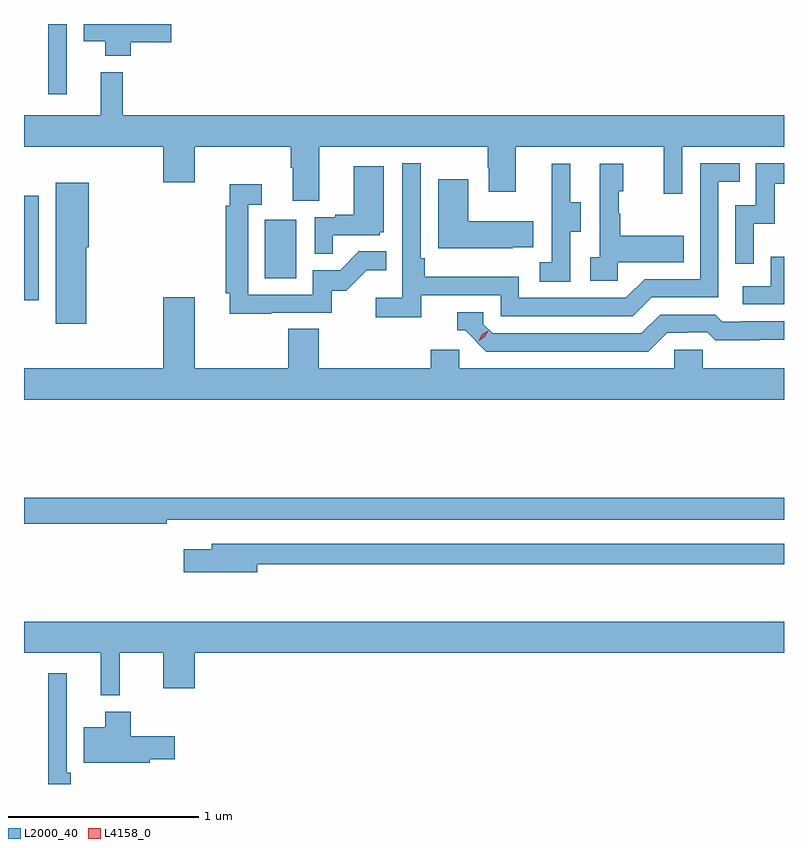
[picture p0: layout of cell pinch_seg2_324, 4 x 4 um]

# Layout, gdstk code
import gdstk
lib = gdstk.Library(unit=1e-6, precision=1e-09)
def R(c, l, rs):  # rectangles x0, y0, x1, y1
    for r in rs: c.add(gdstk.rectangle(r[:2], r[2:], *l))
def P(c, l, *ps):  # polygons
    for p in ps: c.add(gdstk.Polygon(p, *l))
L2000_40 = (2000, 40)
L4158_0 = (4158, 0)

pinch_seg2_324 = lib.new_cell('pinch_seg2_324')
R(pinch_seg2_324, L2000_40, [(955.482,640.167,955.56,640.718), (956.75,640.284,956.914,640.591), (955.61,641.25,955.707,641.621)])
P(pinch_seg2_324, L2000_40, [(956.045,641.524),(956.257,641.524),(956.257,641.621),(955.796,641.621),(955.796,641.531),(955.91,641.531),(955.91,641.453),(956.045,641.453)],
  [(957.037,640.976),(957.922,640.976),(957.922,640.865),(957.929,640.865),(957.929,640.737),(958.069,640.737),(958.069,640.976),(958.85,640.976),(958.85,640.728),(958.947,640.728),(958.947,640.976),(959.482,640.976),(959.482,641.14),(956.003,641.14),(956.003,641.368),(955.886,641.368),(955.886,641.14),(955.482,641.14),(955.482,640.976),(956.216,640.976),(956.216,640.788),(956.38,640.788),(956.38,640.976),(956.885,640.976),(956.885,640.864),(956.897,640.864),(956.897,640.69),(957.037,640.69)],
  [(957.572,640.194),(957.99,640.194),(957.99,640.083),(958.687,640.083),(958.786,640.182),(959.136,640.182),(959.136,640.791),(959.249,640.791),(959.249,640.887),(959.04,640.887),(959.04,640.278),(958.749,640.278),(958.65,640.179),(958.086,640.179),(958.086,640.291),(957.59,640.291),(957.59,640.387),(957.57,640.387),(957.57,640.888),(957.474,640.888),(957.474,640.18),(957.333,640.18),(957.333,640.078),(957.572,640.078)],
  [(959.322,640.571),(959.432,640.571),(959.432,640.779),(959.482,640.779),(959.482,640.887),(959.334,640.887),(959.334,640.668),(959.226,640.668),(959.226,640.359),(959.322,640.359)],
  [(958.608,640.367),(958.955,640.367),(958.955,640.507),(958.621,640.507),(958.621,640.622),(958.611,640.622),(958.611,640.74),(958.636,640.74),(958.636,640.885),(958.512,640.885),(958.512,640.394),(958.461,640.394),(958.461,640.269),(958.608,640.269)],
  [(958.356,640.528),(958.411,640.528),(958.411,640.683),(958.357,640.683),(958.357,640.885),(958.259,640.885),(958.259,640.671),(958.26,640.671),(958.26,640.367),(958.197,640.367),(958.197,640.264),(958.356,640.264)],
  [(957.107,640.509),(957.354,640.509),(957.354,640.524),(957.376,640.524),(957.376,640.873),(957.218,640.873),(957.218,640.618),(957.119,640.618),(957.119,640.605),(957.012,640.605),(957.012,640.411),(957.107,640.411)],
  [(958.055,640.445),(958.163,640.445),(958.163,640.582),(957.82,640.582),(957.82,640.804),(957.662,640.804),(957.662,640.442),(958.055,640.442)],
  [(955.81,640.446),(955.822,640.446),(955.822,640.786),(955.649,640.786),(955.649,640.044),(955.81,640.044)],
  [(956.783,640.101),(957.102,640.101),(957.102,640.218),(957.178,640.218),(957.285,640.325),(957.389,640.325),(957.389,640.424),(957.245,640.424),(957.147,640.326),(957.003,640.326),(957.003,640.197),(956.661,640.197),(956.661,640.671),(956.734,640.671),(956.734,640.777),(956.564,640.777),(956.564,640.664),(956.545,640.664),(956.545,640.204),(956.564,640.204),(956.564,640.096),(956.783,640.096)],
  [(959.482,640.396),(959.412,640.396),(959.412,640.242),(959.265,640.242),(959.265,640.146),(959.482,640.146)],
  [(959.482,639.808),(959.055,639.808),(959.055,639.906),(958.905,639.906),(958.905,639.808),(957.774,639.808),(957.774,639.906),(957.623,639.906),(957.623,639.808),(957.032,639.808),(957.032,640.016),(956.872,640.016),(956.872,639.808),(956.38,639.808),(956.38,640.183),(956.216,640.183),(956.216,639.808),(955.482,639.808),(955.482,639.644),(959.482,639.644)],
  [(958.867,639.996),(958.974,639.996),(958.974,639.999),(959.077,639.999),(959.119,639.957),(959.352,639.957),(959.352,639.959),(959.482,639.959),(959.482,640.056),(959.257,640.056),(959.257,640.053),(959.158,640.053),(959.119,640.092),(958.83,640.092),(958.731,639.993),(957.948,639.993),(957.9,640.041),(957.9,640.104),(957.761,640.104),(957.761,640.008),(957.804,640.008),(957.915,639.897),(958.768,639.897)],
  [(956.234,639.012),(959.482,639.012),(959.482,639.128),(955.482,639.128),(955.482,638.992),(956.234,638.992)],
  [(956.71,638.778),(959.482,638.778),(959.482,638.886),(956.471,638.886),(956.471,638.857),(956.322,638.857),(956.322,638.735),(956.71,638.735)],
  [(955.986,638.312),(956.216,638.312),(956.216,638.124),(956.38,638.124),(956.38,638.312),(959.482,638.312),(959.482,638.476),(955.482,638.476),(955.482,638.312),(955.886,638.312),(955.886,638.087),(955.986,638.087)],
  [(955.727,637.681),(955.707,637.681),(955.707,638.203),(955.61,638.203),(955.61,637.621),(955.727,637.621)],
  [(956.145,637.751),(956.275,637.751),(956.275,637.873),(956.045,637.873),(956.045,638.002),(955.91,638.002),(955.91,637.921),(955.796,637.921),(955.796,637.733),(956.145,637.733)])
P(pinch_seg2_324, L4158_0, [(957.876,639.955),(957.876,639.955),(957.894,639.988),(957.925,640.006),(957.925,640.006),(957.925,640.006),(957.908,639.974),(957.877,639.955)])

lib.write_gds('pinch_seg2_324.gds')
